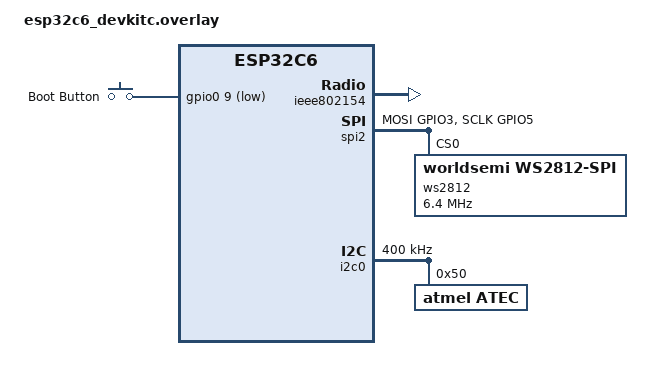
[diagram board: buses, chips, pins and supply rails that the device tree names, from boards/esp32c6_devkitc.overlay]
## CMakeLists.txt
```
cmake_minimum_required(VERSION 3.20.0)

find_package(Zephyr REQUIRED HINTS $ENV{ZEPHYR_BASE})
project(bitchat_esp32c6)

target_sources(app PRIVATE 
    src/main.c
    src/bitchat_crypto.c
)
```

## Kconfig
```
# SPDX-License-Identifier: Apache-2.0

mainmenu "BitChat ESP32-C6 Application"

source "Kconfig.zephyr"

# Application-specific configuration options can go here
# Example:
# config BITCHAT_VERSION
# 	string "BitChat version"
# 	default "0.1.0"
```

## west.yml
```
manifest:
  version: "0.13"

  remotes:
    - name: zephyrproject-rtos
      url-base: https://github.com/zephyrproject-rtos

  projects:
    - name: zephyr
      url: https://github.com/zephyrproject-rtos/zephyr
      revision: main
      path: zephyr
      import: true

  self:
    path: .
    west-commands: scripts/west-commands.yml
```

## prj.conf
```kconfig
# Covekey Project Configuration - BitChat Bot

# Console and Logging
CONFIG_LOG=y
CONFIG_LOG_MODE_IMMEDIATE=y
CONFIG_LOG_DEFAULT_LEVEL=3
CONFIG_CONSOLE=y
CONFIG_UART_CONSOLE=y
CONFIG_SERIAL=y
CONFIG_PRINTK=y
CONFIG_EARLY_CONSOLE=y

# GPIO (required for future expansion)
CONFIG_GPIO=y

# Bluetooth LE Support
CONFIG_BT=y
CONFIG_BT_PERIPHERAL=y
CONFIG_BT_CENTRAL=y
CONFIG_BT_OBSERVER=y
CONFIG_BT_BROADCASTER=y
CONFIG_BT_DEVICE_NAME="BitChat"
CONFIG_BT_DEVICE_NAME_DYNAMIC=n
CONFIG_BT_MAX_CONN=4
CONFIG_BT_L2CAP_TX_BUF_COUNT=3
CONFIG_BT_CONN_CHECK_NULL_BEFORE_CREATE=y

# ESP32-C6 CRITICAL: Enable parallel scan and connection initiation
# bt_le_scan_stop() crashes on ESP32-C6, this allows connections while scanning
CONFIG_BT_SCAN_AND_INITIATE_IN_PARALLEL=y

# GATT Client support (for mesh messaging)
CONFIG_BT_GATT_CLIENT=y

# MTU and buffer configuration
# Increased ACL buffer size to support higher ATT MTU negotiation
# ATT MTU is negotiated based on ACL buffer size, not L2CAP MTU
# 512 bytes allows ATT MTU of ~508 bytes, preventing fragmentation of TLV handshakes
CONFIG_BT_L2CAP_TX_MTU=512
CONFIG_BT_BUF_ACL_TX_SIZE=512
CONFIG_BT_BUF_ACL_RX_SIZE=512
CONFIG_BT_ATT_PREPARE_COUNT=1

# HCI buffer pool - increased for parallel scan+connect operations
CONFIG_BT_BUF_ACL_TX_COUNT=4

# BLE advertising - extended advertising required for parallel scan/initiate
# CONFIG_BT_EXT_ADV is auto-enabled by CONFIG_BT_SCAN_AND_INITIATE_IN_PARALLEL
CONFIG_BT_PRIVACY=n

# NO NETWORKING - Bluetooth only
CONFIG_NETWORKING=n

# PSA Crypto API (modern mbedTLS) for Noise XX protocol
CONFIG_MBEDTLS=y
CONFIG_MBEDTLS_BUILTIN=y
CONFIG_PSA_CRYPTO_PROVIDER_MBEDTLS=y
CONFIG_PSA_WANT_ALG_ECDH=y
CONFIG_PSA_WANT_ALG_SHA_256=y
CONFIG_PSA_WANT_ALG_HMAC=y
# Noise_XX requires ChaCha20-Poly1305, not AES-GCM
CONFIG_PSA_WANT_ALG_CHACHA20_POLY1305=y
CONFIG_PSA_WANT_KEY_TYPE_CHACHA20=y
# Noise_XX requires Curve25519 (X25519), not secp256r1
CONFIG_PSA_WANT_ECC_MONTGOMERY_255=y
CONFIG_PSA_WANT_KEY_TYPE_ECC_KEY_PAIR_IMPORT=y
CONFIG_PSA_WANT_KEY_TYPE_ECC_KEY_PAIR_EXPORT=y
CONFIG_PSA_WANT_KEY_TYPE_ECC_KEY_PAIR_GENERATE=y
CONFIG_MBEDTLS_ENABLE_HEAP=y
CONFIG_MBEDTLS_HEAP_SIZE=40960

# Shell for interactive control
CONFIG_SHELL=y
CONFIG_SHELL_BACKEND_SERIAL=y
CONFIG_SHELL_PROMPT_UART="bitchat> "
CONFIG_SHELL_CMD_BUFF_SIZE=256
CONFIG_SHELL_ARGC_MAX=12

# Memory and Threading
CONFIG_MAIN_STACK_SIZE=8192
CONFIG_SYSTEM_WORKQUEUE_STACK_SIZE=8192
CONFIG_HEAP_MEM_POOL_SIZE=65536

# ESP32-C6 BLE soft controller stability - increased buffers
CONFIG_BT_BUF_EVT_RX_COUNT=16
CONFIG_BT_BUF_CMD_TX_COUNT=8
CONFIG_BT_RX_STACK_SIZE=4096

# CRITICAL: Extended advertising/scanning buffer size limits for ESP32-C6
# When CONFIG_BT_SCAN_AND_INITIATE_IN_PARALLEL=y, BT_EXT_ADV is auto-enabled
# Extended advertising scan reports require 122 bytes for HCI event buffers
# ESP32-C6 ACL data buffers limited to 58 bytes, but event buffers can be larger
CONFIG_BT_BUF_EVT_DISCARDABLE_SIZE=122
CONFIG_BT_BUF_EVT_DISCARDABLE_COUNT=8
CONFIG_BT_BUF_EVT_RX_SIZE=122

# System
CONFIG_REBOOT=y
```

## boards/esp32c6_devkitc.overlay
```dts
#include <zephyr/dt-bindings/led/led.h>

/*
 * Waveshare ESP32-C6-Touch-LCD-1.9 + ATEC608
 * 
 * Hardware Configuration:
 * - WS2812 LEDs: Connected via SPI2 (using bit-banging technique)
 * - ST7789 LCD:  GPIO4(MOSI), GPIO5(SCK), GPIO6(DC), GPIO7(BL), GPIO14(RST), GPIO20(CS)
 * - QMI8658 IMU: GPIO8(SCL), GPIO18(SDA)
 * - ATEC608:     GPIO1(SCL), GPIO2(SDA) - Secure element
 * - MicroSD:     GPIO4(MOSI), GPIO5(SCK), GPIO19(MISO), GPIO20(CS)
 * - Boot Button: GPIO9
 */

/ {
	aliases {
		led-strip = &ws2812;
		sw0 = &boot_button;
		atec-i2c = &i2c0;
	};

	buttons {
		compatible = "gpio-keys";
		boot_button: button_0 {
			gpios = <&gpio0 9 (GPIO_PULL_UP | GPIO_ACTIVE_LOW)>;
			label = "Boot Button";
		};
	};
};

/* Enable IEEE 802.15.4 radio */
&ieee802154 {
	status = "okay";
};

&spi2 {
	status = "okay";
	#address-cells = <1>;
	#size-cells = <0>;
	pinctrl-0 = <&spim2_default>;
	pinctrl-names = "default";

	/* WS2812 LEDs via SPI bit-banging on GPIO3 */
	ws2812: ws2812@0 {
		compatible = "worldsemi,ws2812-spi";
		reg = <0>;
		spi-max-frequency = <6400000>;
		chain-length = <2>;
		/* GRB order for WS2812B */
		color-mapping = <LED_COLOR_ID_GREEN
				 LED_COLOR_ID_RED
				 LED_COLOR_ID_BLUE>;
		spi-one-frame = <0xf0>;
		spi-zero-frame = <0xc0>;
	};
};

&i2c0 {
	status = "okay";
	clock-frequency = <I2C_BITRATE_FAST>;
	pinctrl-0 = <&i2c0_default>;
	pinctrl-names = "default";

	/* ATEC608 Secure Element */
	atec: atec@50 {
		compatible = "atmel,atec";
		reg = <0x50>;
	};
};

&pinctrl {
	spim2_default: spim2_default {
		group1 {
			pinmux = <SPIM2_MOSI_GPIO3>;  /* WS2812 data line only */
			output-high;
		};
		group2 {
			pinmux = <SPIM2_SCLK_GPIO5>;
			output-low;
		};
	};

	i2c0_default: i2c0_default {
		group1 {
			pinmux = <I2C0_SDA_GPIO2>,   /* ATEC608 SDA */
					 <I2C0_SCL_GPIO1>;   /* ATEC608 SCL */
			bias-pull-up;
			drive-open-drain;
			output-high;
		};
	};
};
```

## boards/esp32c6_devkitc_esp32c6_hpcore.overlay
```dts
/*
 * Waveshare ESP32-C6 1.9" Display Development Board
 * Hardware configuration ported from Arduino examples
 * 
 * Display: ST7789V 170×320 LCD - DISABLED
 * 
 * RGB LED: WS2812 x2 on GPIO3
 * - Color order: GRB (Green-Red-Blue)
 * - Driven via SPI bit-banging
 * 
 * Button: BOOT on GPIO9
 */

/ {
	aliases {
		sw0 = &boot_button;
		led-strip = &ws2812;
	};

	buttons {
		compatible = "gpio-keys";
		boot_button: button_0 {
			gpios = <&gpio0 9 (GPIO_PULL_UP | GPIO_ACTIVE_LOW)>;
			label = "Boot Button";
		};
	};
};

&pinctrl {
	spim2_ws2812: spim2_ws2812 {
		group1 {
			pinmux = <SPIM2_MOSI_GPIO7>,
				 <SPIM2_SCLK_GPIO6>;
		};
	};
};

/* SPI2 for WS2812 RGB LEDs only */
&spi2 {
	status = "okay";
	#address-cells = <1>;
	#size-cells = <0>;
	pinctrl-0 = <&spim2_ws2812>;
	pinctrl-names = "default";

	/* WS2812 RGB LEDs - GRB color order */
	ws2812: ws2812@0 {
		compatible = "worldsemi,ws2812-spi";
		reg = <0>;
		spi-max-frequency = <6400000>;
		chain-length = <2>;
		color-mapping = <1 2 3>; /* GREEN=1, RED=2, BLUE=3 */
		spi-one-frame = <0xf0>;
		spi-zero-frame = <0xc0>;
	};
};
```

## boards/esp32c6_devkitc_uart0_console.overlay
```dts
/ {
	chosen {
		zephyr,console = &uart0;
		zephyr,shell-uart = &uart0;
	};
};

&uart0 {
	status = "okay";
	current-speed = <115200>;
};
```

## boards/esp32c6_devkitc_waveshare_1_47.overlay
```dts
/*
 * Waveshare ESP32-C6 1.47" Display Development Board
 * ST7789V 172x320 LCD with SPI interface
 *
 * NOTE: This overlay is for the 1.47" ST7789V panel; WS2812 configuration lives in esp32c6_devkitc.overlay.
 */

&spi2 {
	status = "okay";
	pinctrl-0 = <&spim2_default>;
	pinctrl-names = "default";
	clock-frequency = <40000000>;
	cs-gpios = <&gpio0 18 GPIO_ACTIVE_LOW>;

	st7789v: st7789v@0 {
		compatible = "sitronix,st7789v";
		reg = <0>;
		spi-max-frequency = <40000000>;
		cmd-data-gpios = <&gpio0 22 GPIO_ACTIVE_HIGH>;
		reset-gpios = <&gpio0 23 GPIO_ACTIVE_LOW>;
		width = <172>;
		height = <320>;
		x-offset = <34>;
		y-offset = <0>;
		vcom = <0x19>;
		gctrl = <0x35>;
		vrhs = <0x12>;
		vdvs = <0x20>;
		mdac = <0x00>;
		gamma = <0x01>;
		colmod = <0x55>;
		lcm = <0x2c>;
		porch-param = [0c 0c 00 33 33];
		cmd2en-param = [5a 69 02 01];
		pwctrl1-param = [a4 a1];
		pvgam-param = [D0 04 0D 11 13 2B 3F 54 4C 18 0D 0B 1F 23];
		nvgam-param = [D0 04 0C 11 13 2C 3F 44 51 2F 1F 1F 20 23];
		ram-param = [00 F0];
		rgb-param = [CD 08 14];
	};
};

&pinctrl {
	spim2_default: spim2_default {
		group1 {
			pinmux = <SPIM2_MISO_GPIO2>,
				 <SPIM2_MOSI_GPIO7>,
				 <SPIM2_SCLK_GPIO6>;
		};
	};
};

/ {
	chosen {
		zephyr,display = &st7789v;
	};

	aliases {
		led0 = &led_rgb;
	};

	leds {
		compatible = "gpio-leds";
		led_rgb: led_0 {
			gpios = <&gpio0 10 GPIO_ACTIVE_HIGH>;
			label = "RGB LED Red";
		};
	};

	backlight: backlight {
		compatible = "gpio-leds";
		bl_gpio: backlight_0 {
			gpios = <&gpio0 21 GPIO_ACTIVE_HIGH>;
			label = "Display Backlight";
		};
	};
};

&uart0 {
	status = "okay";
	current-speed = <115200>;
};

&slot0_partition {
	reg = <0x00010000 0x200000>;
};
```

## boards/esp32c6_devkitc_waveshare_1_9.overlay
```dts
/*
 * Waveshare ESP32-C6 1.9" Display Board
 * 170x320 ST7789 display, QMI8658 IMU, CST816 touch, WS2812 LED
 */

/ {
	aliases {
	};
};

&uart0 {
	status = "okay";
	current-speed = <115200>;
};

/* Fix partition node address/reg mismatch */
&slot0_partition {
	/* node name and reg must match */
	reg = <0x00010000 0x200000>;
	label = "image-0";
};
```

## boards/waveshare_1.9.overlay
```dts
/ {
	chosen {
		zephyr,display = &st7789;
	};

	aliases {
		atec-i2c = &i2c0;
	};
};

&spi0 {
	status = "okay";
	cs-gpios = <&gpio0 7 GPIO_ACTIVE_LOW>;

	st7789: st7789@0 {
		compatible = "sitronix,st7789v";
		reg = <0>;
		spi-max-frequency = <20000000>;
		cmd-data-gpios = <&gpio0 6 GPIO_ACTIVE_LOW>;  /* DC pin */
		reset-gpios = <&gpio0 14 GPIO_ACTIVE_LOW>;    /* RST pin */
		width = <170>;
		height = <320>;
		x-offset = <35>;
		y-offset = <0>;
		vcom = <0x19>;
		gctrl = <0x35>;
		vrhs = <0x12>;
		vdvs = <0x20>;
		mdac = <0x00>;
		gamma = <0x01>;
		colmod = <0x05>;
		lcm = <0x2c>;
		porch-param = [0c 0c 00 33 33];
		cmd2en-param = [5a 69 02 01];
		pwctrl1-param = [a4 a1];
		pvgam-param = [D0 04 0D 11 13 2B 3F 54 4C 18 0D 0B 1F 23];
		nvgam-param = [D0 04 0C 11 13 2C 3F 44 51 2F 1F 1F 20 23];
		ram-param = <0x00 0xE0>;
		rgb-param = <0x00 0xE0>;
	};
};

&i2c0 {
	status = "okay";
	clock-frequency = <I2C_BITRATE_STANDARD>;
	pinctrl-0 = <&i2c0_default>;
	pinctrl-names = "default";

	atec: atec@50 {
		compatible = "atmel,atec";
		reg = <0x50>;
		scl-gpios = <&gpio0 1 GPIO_ACTIVE_HIGH>;  /* GPIO1 for SCL */
		sda-gpios = <&gpio0 2 GPIO_ACTIVE_HIGH>;  /* GPIO2 for SDA */
	};
};

&pinctrl {
	i2c0_default: i2c0_default {
		group1 {
			psels = <NRF_PSEL(TWIM_SDA, 0, 2)>,
				<NRF_PSEL(TWIM_SCL, 0, 1)>;
		};
	};
};
```

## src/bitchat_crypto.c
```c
/*
 * bitchat Cryptography Implementation
 * Full Noise_XX_25519_ChaChaPoly_SHA256 Protocol
 * Using PSA Crypto API (mbedTLS 3.x)
 */

#include <zephyr/kernel.h>
#include <zephyr/logging/log.h>
#include <zephyr/random/random.h>
#include <psa/crypto.h>
#include <string.h>

#include "bitchat_protocol.h"

LOG_MODULE_REGISTER(bitchat_crypto, LOG_LEVEL_INF);

/* External mutex for serializing UART output (defined in main.c) */
extern struct k_mutex uart_mutex;

#define NOISE_PROTOCOL_NAME "Noise_XX_25519_ChaChaPoly_SHA256"

/* ========== Key Generation ========== */

int bitchat_generate_keypair(uint8_t *private_key, uint8_t *public_key)
{
	psa_status_t status;
	psa_key_attributes_t attributes = PSA_KEY_ATTRIBUTES_INIT;
	psa_key_id_t key_id;
	uint8_t public_key_buffer[32]; /* Raw 32-byte Curve25519 public key */
	size_t public_key_len;
	size_t private_key_len;
	
	/* Configure key for ECDH on Curve25519 (X25519) */
	psa_set_key_usage_flags(&attributes, PSA_KEY_USAGE_EXPORT | PSA_KEY_USAGE_DERIVE);
	psa_set_key_algorithm(&attributes, PSA_ALG_ECDH);
	psa_set_key_type(&attributes, PSA_KEY_TYPE_ECC_KEY_PAIR(PSA_ECC_FAMILY_MONTGOMERY));
	psa_set_key_bits(&attributes, 255);
	psa_set_key_lifetime(&attributes, PSA_KEY_LIFETIME_VOLATILE);
	
	status = psa_generate_key(&attributes, &key_id);
	if (status != PSA_SUCCESS) {
		LOG_ERR("Failed to generate keypair: %d", status);
		return -1;
	}
	
	status = psa_export_key(key_id, private_key, NOISE_KEY_SIZE, &private_key_len);
	if (status != PSA_SUCCESS) {
		LOG_ERR("Failed to export private key: %d", status);
		psa_destroy_key(key_id);
		return -1;
	}
	
	status = psa_export_public_key(key_id, public_key_buffer, sizeof(public_key_buffer), 
	                               &public_key_len);
	if (status != PSA_SUCCESS) {
		LOG_ERR("Failed to export public key: %d", status);
		psa_destroy_key(key_id);
		return -1;
	}
	
	/* Curve25519 public key is raw 32 bytes (no prefix) */
	memcpy(public_key, public_key_buffer, NOISE_KEY_SIZE);
	
	psa_destroy_key(key_id);
	return 0;
}

/* ========== ECDH (Diffie-Hellman) ========== */

int bitchat_ecdh(const uint8_t *our_private, const uint8_t *their_public, 
                 uint8_t *shared_secret)
{
	psa_status_t status;
	psa_key_attributes_t attributes = PSA_KEY_ATTRIBUTES_INIT;
	psa_key_id_t key_id;
	size_t shared_secret_len;
	
	psa_set_key_usage_flags(&attributes, PSA_KEY_USAGE_DERIVE);
	psa_set_key_algorithm(&attributes, PSA_ALG_ECDH);
	psa_set_key_type(&attributes, PSA_KEY_TYPE_ECC_KEY_PAIR(PSA_ECC_FAMILY_MONTGOMERY));
	psa_set_key_bits(&attributes, 255);
	psa_set_key_lifetime(&attributes, PSA_KEY_LIFETIME_VOLATILE);
	
	status = psa_import_key(&attributes, our_private, NOISE_KEY_SIZE, &key_id);
	if (status != PSA_SUCCESS) {
		LOG_ERR("Failed to import private key: %d", status);
		return -1;
	}
	
	/* Curve25519 public key is raw 32 bytes (no prefix) */
	status = psa_raw_key_agreement(PSA_ALG_ECDH, key_id, their_public, NOISE_KEY_SIZE,
	                               shared_secret, NOISE_KEY_SIZE, &shared_secret_len);
	
	psa_destroy_key(key_id);
	
	if (status != PSA_SUCCESS) {
		LOG_ERR("ECDH failed: %d", status);
		return -1;
	}
	
	return 0;
}

/* ========== Crypto Primitives ========== */

int bitchat_sha256(const uint8_t *data, size_t len, uint8_t *hash)
{
	psa_status_t status;
	size_t hash_len;
	
	status = psa_hash_compute(PSA_ALG_SHA_256, data, len, hash, NOISE_HASH_SIZE, &hash_len);
	if (status != PSA_SUCCESS) {
		LOG_ERR("SHA256 failed: %d", status);
		return -1;
	}
	return 0;
}

/* Simplified HKDF for Noise MixKey */
static int noise_hkdf(const uint8_t *ck, const uint8_t *ikm, size_t ikm_len,
                      uint8_t *out1, uint8_t *out2)
{
	uint8_t temp_key[NOISE_HASH_SIZE];
	uint8_t info1[NOISE_HASH_SIZE + 1];
	uint8_t info2[NOISE_HASH_SIZE + 1];
	
	/* HMAC-SHA256(ck, ikm) -> temp_key */
	psa_algorithm_t alg = PSA_ALG_HMAC(PSA_ALG_SHA_256);
	psa_key_attributes_t attr = PSA_KEY_ATTRIBUTES_INIT;
	psa_key_id_t key_id;
	size_t mac_len;
	
	psa_set_key_usage_flags(&attr, PSA_KEY_USAGE_SIGN_MESSAGE);
	psa_set_key_algorithm(&attr, alg);
	psa_set_key_type(&attr, PSA_KEY_TYPE_HMAC);
	psa_set_key_bits(&attr, 256);
	
	if (psa_import_key(&attr, ck, NOISE_HASH_SIZE, &key_id) != PSA_SUCCESS) {
		return -1;
	}
	
	if (psa_mac_compute(key_id, alg, ikm, ikm_len, temp_key, 
	                    NOISE_HASH_SIZE, &mac_len) != PSA_SUCCESS) {
		psa_destroy_key(key_id);
		return -1;
	}
	psa_destroy_key(key_id);
	
	/* Derive output1: HMAC(temp_key, 0x01) */
	info1[0] = 0x01;
	if (psa_import_key(&attr, temp_key, NOISE_HASH_SIZE, &key_id) != PSA_SUCCESS) {
		return -1;
	}
	if (psa_mac_compute(key_id, alg, info1, 1, out1, NOISE_HASH_SIZE, &mac_len) != PSA_SUCCESS) {
		psa_destroy_key(key_id);
		return -1;
	}
	
	/* Derive output2: HMAC(temp_key, out1 || 0x02) */
	memcpy(info2, out1, NOISE_HASH_SIZE);
	info2[NOISE_HASH_SIZE] = 0x02;
	if (psa_mac_compute(key_id, alg, info2, NOISE_HASH_SIZE + 1, 
	                    out2, NOISE_HASH_SIZE, &mac_len) != PSA_SUCCESS) {
		psa_destroy_key(key_id);
		return -1;
	}
	psa_destroy_key(key_id);
	
	return 0;
}

/* ========== Noise Protocol Functions ========== */

void noise_mix_hash(uint8_t *h, const uint8_t *data, size_t len)
{
	uint8_t temp[NOISE_HASH_SIZE + 512];
	size_t total_len = NOISE_HASH_SIZE + len;
	
	if (total_len > sizeof(temp)) {
		LOG_ERR("Data too large for mix_hash");
		return;
	}
	
	memcpy(temp, h, NOISE_HASH_SIZE);
	memcpy(temp + NOISE_HASH_SIZE, data, len);
	bitchat_sha256(temp, total_len, h);
}

void noise_mix_key(uint8_t *ck, uint8_t *k, const uint8_t *ikm, size_t len)
{
	uint8_t temp_ck[NOISE_HASH_SIZE];
	uint8_t temp_k[NOISE_HASH_SIZE];
	
	if (noise_hkdf(ck, ikm, len, temp_ck, temp_k) == 0) {
		memcpy(ck, temp_ck, NOISE_HASH_SIZE);
		if (k) {
			memcpy(k, temp_k, NOISE_KEY_SIZE);
		}
	}
}

/* ChaCha20-Poly1305 encryption for Noise protocol */
int noise_encrypt(const uint8_t *key, uint64_t nonce, const uint8_t *ad, size_t ad_len,
                  const uint8_t *plaintext, size_t plaintext_len,
                  uint8_t *ciphertext, uint8_t *tag)
{
	psa_status_t status;
	psa_key_attributes_t attr = PSA_KEY_ATTRIBUTES_INIT;
	psa_key_id_t key_id;
	uint8_t nonce_bytes[12] = {0};
	size_t output_len;
	uint8_t temp_output[512];
	
	if (plaintext_len + 16 > sizeof(temp_output)) {
		LOG_ERR("Plaintext too large for encryption");
		return -1;
	}
	
	/* Encode nonce as 12 bytes (little-endian, lower 8 bytes starting at offset 4) */
	memcpy(nonce_bytes + 4, &nonce, sizeof(nonce));
	
	psa_set_key_usage_flags(&attr, PSA_KEY_USAGE_ENCRYPT);
	psa_set_key_algorithm(&attr, PSA_ALG_CHACHA20_POLY1305);
	psa_set_key_type(&attr, PSA_KEY_TYPE_CHACHA20);
	psa_set_key_bits(&attr, 256);
	
	status = psa_import_key(&attr, key, NOISE_KEY_SIZE, &key_id);
	if (status != PSA_SUCCESS) {
		LOG_ERR("Failed to import encryption key: %d", status);
		return -1;
	}
	
	status = psa_aead_encrypt(key_id, PSA_ALG_CHACHA20_POLY1305, nonce_bytes, 12, ad, ad_len,
	                          plaintext, plaintext_len, temp_output, 
	                          plaintext_len + 16, &output_len);
	
	psa_destroy_key(key_id);
	
	if (status != PSA_SUCCESS) {
		LOG_ERR("ChaCha20-Poly1305 encryption failed: %d", status);
		return -1;
	}
	
	/* Split output into ciphertext and tag */
	memcpy(ciphertext, temp_output, plaintext_len);
	memcpy(tag, temp_output + plaintext_len, 16);
	
	return 0;
}

int noise_decrypt(const uint8_t *key, uint64_t nonce, const uint8_t *ad, size_t ad_len,
                  const uint8_t *ciphertext, size_t ciphertext_len,
                  const uint8_t *tag, uint8_t *plaintext)
{
	psa_status_t status;
	psa_key_attributes_t attr = PSA_KEY_ATTRIBUTES_INIT;
	psa_key_id_t key_id;
	uint8_t nonce_bytes[12] = {0};
	uint8_t ct_with_tag[512];
	size_t output_len;
	
	if (ciphertext_len + 16 > sizeof(ct_with_tag)) {
		LOG_ERR("Ciphertext too large for decryption");
		return -1;
	}
	
	/* Encode nonce as 12 bytes (little-endian) */
	memcpy(nonce_bytes + 4, &nonce, sizeof(nonce));
	
	/* Combine ciphertext and tag for PSA AEAD */
	memcpy(ct_with_tag, ciphertext, ciphertext_len);
	memcpy(ct_with_tag + ciphertext_len, tag, 16);
	
	psa_set_key_usage_flags(&attr, PSA_KEY_USAGE_DECRYPT);
	psa_set_key_algorithm(&attr, PSA_ALG_CHACHA20_POLY1305);
	psa_set_key_type(&attr, PSA_KEY_TYPE_CHACHA20);
	psa_set_key_bits(&attr, 256);
	
	status = psa_import_key(&attr, key, NOISE_KEY_SIZE, &key_id);
	if (status != PSA_SUCCESS) {
		LOG_ERR("Failed to import decryption key: %d", status);
		return -1;
	}
	
	status = psa_aead_decrypt(key_id, PSA_ALG_CHACHA20_POLY1305, nonce_bytes, 12, ad, ad_len,
	                          ct_with_tag, ciphertext_len + 16, plaintext,
	                          ciphertext_len, &output_len);
	
	psa_destroy_key(key_id);
	
	if (status != PSA_SUCCESS) {
		LOG_ERR("ChaCha20-Poly1305 decryption failed: %d", status);
		return -1;
	}
	
	return 0;
}

/* ========== Noise XX Handshake ========== */

int noise_init_session(struct noise_session *session, bool initiator,
                       const struct bitchat_identity *identity)
{
	memset(session, 0, sizeof(*session));
	
	session->state = NOISE_INIT;
	
	/* Initialize h and ck with protocol name */
	const char *protocol = NOISE_PROTOCOL_NAME;
	bitchat_sha256((const uint8_t *)protocol, strlen(protocol), session->h);
	memcpy(session->ck, session->h, NOISE_HASH_SIZE);
	
	/* Generate ephemeral keypair */
	if (bitchat_generate_keypair(session->e_private, session->e_public) != 0) {
		return -1;
	}
	
	session->session_id = sys_rand16_get();
	session->last_activity = k_uptime_get();
	
	k_mutex_lock(&uart_mutex, K_FOREVER);
	LOG_INF("Noise session initialized (ID: 0x%04x, %s)", 
	        session->session_id, initiator ? "initiator" : "responder");
	k_mutex_unlock(&uart_mutex);
	
	return 0;
}

/* ========== Noise XX Handshake - Message Processing ========== */

/* Message 1 (initiator -> responder): -> e */
int noise_handshake_write_message1(struct noise_session *session, uint8_t *out, size_t *out_len)
{
	if (session->state != NOISE_INIT) {
		LOG_ERR("Invalid state for message 1: %d", session->state);
		return -1;
	}
	
	/* Send: e */
	memcpy(out, session->e_public, NOISE_KEY_SIZE);
	*out_len = NOISE_KEY_SIZE;
	
	/* Update handshake hash: h = HASH(h || e) */
	noise_mix_hash(session->h, session->e_public, NOISE_KEY_SIZE);
	
	session->state = NOISE_SENT_E;
	k_mutex_lock(&uart_mutex, K_FOREVER);
	LOG_INF("Sent handshake message 1 (e)");
	k_mutex_unlock(&uart_mutex);
	
	return 0;
}

/* Message 1 (responder receives): <- e */
int noise_handshake_read_message1(struct noise_session *session, const uint8_t *in, size_t in_len)
{
	if (session->state != NOISE_INIT) {
		LOG_ERR("Invalid state for reading message 1: %d", session->state);
		return -1;
	}
	
	if (in_len < NOISE_KEY_SIZE) {
		LOG_ERR("Message 1 too short: %zu", in_len);
		return -1;
	}
	
	/* Receive: e */
	memcpy(session->remote_e, in, NOISE_KEY_SIZE);
	
	/* Update handshake hash: h = HASH(h || e) */
	noise_mix_hash(session->h, session->remote_e, NOISE_KEY_SIZE);
	
	session->state = NOISE_SENT_E;  /* Ready to send message 2 */
	k_mutex_lock(&uart_mutex, K_FOREVER);
	LOG_INF("Received handshake message 1 (e)");
	k_mutex_unlock(&uart_mutex);
	
	return 0;
}

/* Message 2 (responder -> initiator): -> e, ee, s, es */
int noise_handshake_write_message2(struct noise_session *session, 
                                   const struct bitchat_identity *identity,
                                   uint8_t *out, size_t *out_len)
{
	uint8_t dh_result[NOISE_KEY_SIZE];
	uint8_t k[NOISE_KEY_SIZE];
	uint8_t tag[16];
	size_t offset = 0;
	
	if (session->state != NOISE_SENT_E) {
		LOG_ERR("Invalid state for message 2: %d", session->state);
		return -1;
	}
	
	/* Send: e */
	memcpy(out + offset, session->e_public, NOISE_KEY_SIZE);
	offset += NOISE_KEY_SIZE;
	noise_mix_hash(session->h, session->e_public, NOISE_KEY_SIZE);
	
	/* Perform: ee */
	if (bitchat_ecdh(session->e_private, session->remote_e, dh_result) != 0) {
		LOG_ERR("ECDH ee failed");
		return -1;
	}
	noise_mix_key(session->ck, NULL, dh_result, NOISE_KEY_SIZE);
	
	/* Send: s (encrypted with tag) */
	noise_mix_key(session->ck, k, NULL, 0);  /* Derive temporary key */
	if (noise_encrypt(k, 0, session->h, NOISE_HASH_SIZE,
	                  identity->noise_public, NOISE_KEY_SIZE,
	                  out + offset, tag) != 0) {
		LOG_ERR("Failed to encrypt static key");
		return -1;
	}
	/* Copy ciphertext and tag to output */
	memcpy(out + offset + NOISE_KEY_SIZE, tag, 16);
	/* Update hash with ciphertext+tag */
	noise_mix_hash(session->h, out + offset, NOISE_KEY_SIZE + 16);
	offset += NOISE_KEY_SIZE + 16;
	
	/* Perform: es */
	if (bitchat_ecdh(identity->noise_private, session->remote_e, dh_result) != 0) {
		LOG_ERR("ECDH es failed");
		return -1;
	}
	noise_mix_key(session->ck, NULL, dh_result, NOISE_KEY_SIZE);
	
	*out_len = offset;
	session->state = NOISE_RECEIVED_EES_S_ES;
	k_mutex_lock(&uart_mutex, K_FOREVER);
	LOG_INF("Sent handshake message 2 (e, ee, s, es)");
	k_mutex_unlock(&uart_mutex);
	
	return 0;
}

/* Message 2 (initiator receives): <- e, ee, s, es */
int noise_handshake_read_message2(struct noise_session *session,
                                  const struct bitchat_identity *identity,
                                  const uint8_t *in, size_t in_len)
{
	uint8_t dh_result[NOISE_KEY_SIZE];
	uint8_t k[NOISE_KEY_SIZE];
	uint8_t tag[16];
	size_t offset = 0;
	
	if (session->state != NOISE_SENT_E) {
		LOG_ERR("Invalid state for reading message 2: %d", session->state);
		return -1;
	}
	
	if (in_len < (NOISE_KEY_SIZE + NOISE_KEY_SIZE + 16)) {
		LOG_ERR("Message 2 too short: %zu (expected >= %d)", in_len, NOISE_KEY_SIZE + NOISE_KEY_SIZE + 16);
		return -1;
	}
	
	/* Receive: e */
	memcpy(session->remote_e, in + offset, NOISE_KEY_SIZE);
	offset += NOISE_KEY_SIZE;
	noise_mix_hash(session->h, session->remote_e, NOISE_KEY_SIZE);
	
	/* Perform: ee */
	if (bitchat_ecdh(session->e_private, session->remote_e, dh_result) != 0) {
		LOG_ERR("ECDH ee failed");
		return -1;
	}
	noise_mix_key(session->ck, NULL, dh_result, NOISE_KEY_SIZE);
	
	/* Receive: s (encrypted with tag) */
	noise_mix_key(session->ck, k, NULL, 0);  /* Derive temporary key */
	memcpy(tag, in + offset + NOISE_KEY_SIZE, 16);
	if (noise_decrypt(k, 0, session->h, NOISE_HASH_SIZE,
	                  in + offset, NOISE_KEY_SIZE, tag,
	                  session->remote_s) != 0) {
		LOG_ERR("Failed to decrypt static key");
		return -1;
	}
	/* Update hash with ciphertext+tag */
	noise_mix_hash(session->h, in + offset, NOISE_KEY_SIZE + 16);
	offset += NOISE_KEY_SIZE + 16;
	
	/* Perform: es */
	if (bitchat_ecdh(session->e_private, session->remote_s, dh_result) != 0) {
		LOG_ERR("ECDH es failed");
		return -1;
	}
	noise_mix_key(session->ck, NULL, dh_result, NOISE_KEY_SIZE);
	
	session->state = NOISE_RECEIVED_EES_S_ES;
	k_mutex_lock(&uart_mutex, K_FOREVER);
	LOG_INF("Received handshake message 2 (e, ee, s, es)");
	k_mutex_unlock(&uart_mutex);
	
	return 0;
}

/* Message 3 (initiator -> responder): -> s, se */
int noise_handshake_write_message3(struct noise_session *session,
                                   const struct bitchat_identity *identity,
                                   uint8_t *out, size_t *out_len)
{
	uint8_t dh_result[NOISE_KEY_SIZE];
	uint8_t k[NOISE_KEY_SIZE];
	uint8_t tag[16];
	size_t offset = 0;
	
	if (session->state != NOISE_RECEIVED_EES_S_ES) {
		LOG_ERR("Invalid state for message 3: %d", session->state);
		return -1;
	}
	
	/* Send: s (encrypted with tag) */
	noise_mix_key(session->ck, k, NULL, 0);  /* Derive temporary key */
	if (noise_encrypt(k, 0, session->h, NOISE_HASH_SIZE,
	                  identity->noise_public, NOISE_KEY_SIZE,
	                  out + offset, tag) != 0) {
		LOG_ERR("Failed to encrypt static key");
		return -1;
	}
	/* Copy ciphertext and tag */
	memcpy(out + offset + NOISE_KEY_SIZE, tag, 16);
	/* Update hash with ciphertext+tag */
	noise_mix_hash(session->h, out + offset, NOISE_KEY_SIZE + 16);
	offset += NOISE_KEY_SIZE + 16;
	
	/* Perform: se */
	if (bitchat_ecdh(identity->noise_private, session->remote_e, dh_result) != 0) {
		LOG_ERR("ECDH se failed");
		return -1;
	}
	noise_mix_key(session->ck, NULL, dh_result, NOISE_KEY_SIZE);
	
	*out_len = offset;
	session->state = NOISE_SENT_S_SE;
	
	/* Derive transport keys */
	noise_mix_key(session->ck, session->tx_key, NULL, 0);
	noise_mix_key(session->ck, session->rx_key, NULL, 0);
	session->tx_nonce = 0;
	session->rx_nonce = 0;
	session->state = NOISE_TRANSPORT;
	
	k_mutex_lock(&uart_mutex, K_FOREVER);
	LOG_INF("Sent handshake message 3 (s, se) - transport mode");
	k_mutex_unlock(&uart_mutex);
	
	return 0;
}

/* Message 3 (responder receives): <- s, se */
int noise_handshake_read_message3(struct noise_session *session,
                                  const uint8_t *in, size_t in_len)
{
	uint8_t dh_result[NOISE_KEY_SIZE];
	uint8_t k[NOISE_KEY_SIZE];
	uint8_t tag[16];
	size_t offset = 0;
	
	if (session->state != NOISE_RECEIVED_EES_S_ES) {
		LOG_ERR("Invalid state for reading message 3: %d", session->state);
		return -1;
	}
	
	if (in_len < (NOISE_KEY_SIZE + 16)) {
		LOG_ERR("Message 3 too short: %zu (expected >= %d)", in_len, NOISE_KEY_SIZE + 16);
		return -1;
	}
	
	/* Receive: s (encrypted with tag) */
	noise_mix_key(session->ck, k, NULL, 0);  /* Derive temporary key */
	memcpy(tag, in + offset + NOISE_KEY_SIZE, 16);
	if (noise_decrypt(k, 0, session->h, NOISE_HASH_SIZE,
	                  in + offset, NOISE_KEY_SIZE, tag,
	                  session->remote_s) != 0) {
		LOG_ERR("Failed to decrypt static key");
		return -1;
	}
	/* Update hash with ciphertext+tag */
	noise_mix_hash(session->h, in + offset, NOISE_KEY_SIZE + 16);
	offset += NOISE_KEY_SIZE + 16;
	
	/* Perform: se */
	if (bitchat_ecdh(session->e_private, session->remote_s, dh_result) != 0) {
		LOG_ERR("ECDH se failed");
		return -1;
	}
	noise_mix_key(session->ck, NULL, dh_result, NOISE_KEY_SIZE);
	
	/* Derive transport keys (note: swapped for responder) */
	noise_mix_key(session->ck, session->rx_key, NULL, 0);
	noise_mix_key(session->ck, session->tx_key, NULL, 0);
	session->tx_nonce = 0;
	session->rx_nonce = 0;
	session->state = NOISE_TRANSPORT;
	
	k_mutex_lock(&uart_mutex, K_FOREVER);
	LOG_INF("Received handshake message 3 (s, se) - transport mode");
	k_mutex_unlock(&uart_mutex);
	
	return 0;
}

/* Transport encryption (after handshake complete) */
int noise_transport_encrypt(struct noise_session *session, const uint8_t *plaintext,
                            size_t plaintext_len, uint8_t *ciphertext, size_t *ciphertext_len)
{
	uint8_t tag[16];
	
	if (session->state != NOISE_TRANSPORT) {
		LOG_ERR("Not in transport mode");
		return -1;
	}
	
	if (noise_encrypt(session->tx_key, session->tx_nonce, NULL, 0,
	                  plaintext, plaintext_len, ciphertext, tag) != 0) {
		return -1;
	}
	
	memcpy(ciphertext + plaintext_len, tag, 16);
	*ciphertext_len = plaintext_len + 16;
	session->tx_nonce++;
	
	return 0;
}

int noise_transport_decrypt(struct noise_session *session, const uint8_t *ciphertext,
                            size_t ciphertext_len, uint8_t *plaintext, size_t *plaintext_len)
{
	uint8_t tag[16];
	
	if (session->state != NOISE_TRANSPORT) {
		LOG_ERR("Not in transport mode");
		return -1;
	}
	
	if (ciphertext_len < 16) {
		LOG_ERR("Ciphertext too short");
		return -1;
	}
	
	size_t payload_len = ciphertext_len - 16;
	memcpy(tag, ciphertext + payload_len, 16);
	
	if (noise_decrypt(session->rx_key, session->rx_nonce, NULL, 0,
	                  ciphertext, payload_len, tag, plaintext) != 0) {
		return -1;
	}
	
	*plaintext_len = payload_len;
	session->rx_nonce++;
	
	return 0;
}

/* ========== Ephemeral-Only Handshake (BitChat Android Compatibility) ========== */

int noise_complete_ephemeral_handshake(struct noise_session *session, const uint8_t *remote_ephemeral)
{
	if (!session || !remote_ephemeral) {
		LOG_ERR("Invalid parameters");
		return -1;
	}
	
	/* Must be in NOISE_SENT_E state (after sending INIT) */
	if (session->state != NOISE_SENT_E) {
		LOG_ERR("Invalid state for ephemeral handshake: %d", session->state);
		return -1;
	}
	
	k_mutex_lock(&uart_mutex, K_FOREVER);
	LOG_INF("Completing ephemeral-only handshake (32-byte RESP mode)");
	k_mutex_unlock(&uart_mutex);
	
	/* Store remote ephemeral key */
	memcpy(session->remote_e, remote_ephemeral, NOISE_KEY_SIZE);
	
	/* Compute shared secret: DH(local_ephemeral, remote_ephemeral) */
	uint8_t shared_secret[NOISE_KEY_SIZE];
	if (bitchat_ecdh(session->e_private, remote_ephemeral, shared_secret) != 0) {
		LOG_ERR("DH operation failed");
		return -1;
	}
	
	/* Mix shared secret into chaining key using HKDF
	 * ck, temp_k = HKDF(ck, DH(e, e), 2)
	 */
	uint8_t temp_k1[NOISE_HASH_SIZE];
	uint8_t temp_k2[NOISE_HASH_SIZE];
	if (noise_hkdf(session->ck, shared_secret, NOISE_KEY_SIZE,
	               temp_k1, temp_k2) != 0) {
		LOG_ERR("HKDF failed");
		memset(shared_secret, 0, sizeof(shared_secret));
		return -1;
	}
	
	/* Update chaining key */
	memcpy(session->ck, temp_k1, NOISE_HASH_SIZE);
	
	/* Derive transport keys using split()
	 * temp_k1, temp_k2 = HKDF(ck, zero, 2)
	 * Split chaining key into send and receive keys
	 */
	uint8_t zero[1] = {0};
	if (noise_hkdf(session->ck, zero, 0,
	               session->tx_key, session->rx_key) != 0) {
		LOG_ERR("Transport key derivation failed");
		memset(shared_secret, 0, sizeof(shared_secret));
		memset(temp_k1, 0, sizeof(temp_k1));
		memset(temp_k2, 0, sizeof(temp_k2));
		return -1;
	}
	
	/* Initialize nonces */
	session->tx_nonce = 0;
	session->rx_nonce = 0;
	
	/* Update state to transport mode */
	session->state = NOISE_TRANSPORT;
	
	/* Clear sensitive material */
	memset(shared_secret, 0, sizeof(shared_secret));
	memset(temp_k1, 0, sizeof(temp_k1));
	memset(temp_k2, 0, sizeof(temp_k2));
	memset(session->e_private, 0, NOISE_KEY_SIZE); /* Clear ephemeral private key */
	
	k_mutex_lock(&uart_mutex, K_FOREVER);
	LOG_INF("Ephemeral-only handshake complete - TRANSPORT MODE ACTIVE");
	LOG_WRN("No static key authentication - forward secrecy only");
	k_mutex_unlock(&uart_mutex);
	
	return 0;
}

/* ========== Identity Initialization ========== */

int bitchat_init_identity(struct bitchat_identity *id, const char *nickname)
{
	k_mutex_lock(&uart_mutex, K_FOREVER);
	LOG_INF("Initializing bitchat identity...");
	k_mutex_unlock(&uart_mutex);
	
	if (bitchat_generate_keypair(id->noise_private, id->noise_public) != 0) {
		LOG_ERR("Failed to generate Noise keypair");
		return -1;
	}
	
	if (bitchat_generate_keypair(id->sign_private, id->sign_public) != 0) {
		LOG_ERR("Failed to generate signing keypair");
		return -1;
	}
	
	strncpy(id->nickname, nickname, bitchat_NICKNAME_LEN - 1);
	id->nickname[bitchat_NICKNAME_LEN - 1] = '\0';
	
	k_mutex_lock(&uart_mutex, K_FOREVER);
	LOG_INF("Identity: %s", id->nickname);
	LOG_INF("  Noise pub: %02x%02x...%02x%02x", 
	        id->noise_public[0], id->noise_public[1],
	        id->noise_public[30], id->noise_public[31]);
	k_mutex_unlock(&uart_mutex);
	
	return 0;
}
```

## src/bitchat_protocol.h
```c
/*
 * bitchat Protocol Definitions
 * Based on Noise_XX_25519_ChaChaPoly_SHA256
 */

#ifndef bitchat_PROTOCOL_H
#define bitchat_PROTOCOL_H

#include <stdint.h>
#include <stdbool.h>

/* Key sizes (bytes) */
#define NOISE_KEY_SIZE 32        /* X25519 / Ed25519 key size */
#define NOISE_HASH_SIZE 32       /* SHA-256 output */
#define NOISE_NONCE_SIZE 12      /* ChaCha20Poly1305 nonce */
#define NOISE_TAG_SIZE 16        /* Poly1305 authentication tag */

/* Packet constraints (bitchat spec) */
#define bitchat_PEER_ID_LEN 8    /* 8-byte truncated peer ID */
#define bitchat_MAX_TTL 7        /* Max hop count */
#define bitchat_NICKNAME_LEN 32
#define bitchat_SIGNATURE_LEN 64 /* Ed25519 signature */

/* Packet padding sizes (bitchat spec) */
#define bitchat_PADDED_SIZE_256   256
#define bitchat_PADDED_SIZE_512   512
#define bitchat_PADDED_SIZE_1024  1024
#define bitchat_PADDED_SIZE_2048  2048

/* Maximum payload before padding (2048 - header - IDs - signature) */
#define bitchat_MAX_PAYLOAD_SIZE  (bitchat_PADDED_SIZE_2048 - 13 - 16 - bitchat_SIGNATURE_LEN)

/* bitchat packet types (official BitChat protocol) */
enum bitchat_packet_type {
	bitchat_PKT_MESSAGE = 0x01,
	bitchat_PKT_DELIVERY_ACK = 0x02,
	bitchat_PKT_READ_RECEIPT = 0x03,
	/* Official BitChat uses single type 0x10 for all Noise handshake messages */
	bitchat_PKT_NOISE_HANDSHAKE = 0x10,  /* All handshake phases (INIT/RESP/FINISH) */
	/* Legacy aliases for backward compatibility - all map to 0x10 */
	bitchat_PKT_NOISE_HANDSHAKE_INIT = 0x10,
	bitchat_PKT_NOISE_HANDSHAKE_RESP = 0x10,
	bitchat_PKT_NOISE_HANDSHAKE_FINISH = 0x10,
	bitchat_PKT_NOISE_ENCRYPTED = 0x11,  /* Encrypted Noise transport messages */
	bitchat_PKT_FRAGMENT = 0x20,         /* Fragmented messages */
};

/* bitchat packet flags */
#define bitchat_FLAG_HAS_RECIPIENT  0x01
#define bitchat_FLAG_HAS_SIGNATURE  0x02
#define bitchat_FLAG_IS_COMPRESSED  0x04
#define bitchat_FLAG_IS_RELAY       0x08
#define bitchat_FLAG_IS_PRIVATE     0x10

/* Broadcast recipient ID (all 0xFF) */
#define bitchat_BROADCAST_ID 0xFFFFFFFFFFFFFFFFULL

/* TLV types for message payload encoding */
#define bitchat_TLV_NICKNAME      0x01  /* Nickname string */
#define bitchat_TLV_NOISE_INIT    0x02  /* Noise handshake ephemeral key (32 bytes) */
#define bitchat_TLV_NOISE_RESP    0x03  /* Noise handshake response (32-80 bytes: ephemeral or full) */
#define bitchat_TLV_NOISE_FINISH  0x04  /* Noise handshake finish (48 bytes: encrypted static + tag) */
#define bitchat_TLV_TEXT          0x05  /* Plain text message */
#define bitchat_TLV_ENCRYPTED     0x06  /* Encrypted content */
#define bitchat_TLV_CHANNEL       0x07  /* Channel name string */
#define bitchat_TLV_GEOHASH       0x08  /* Geohash identity string (for Nostr peer discovery) */
#define bitchat_TLV_PUBKEY        0x09  /* Nostr public key (32 bytes, for identity broadcasts) */

/* bitchat packet header (14 bytes fixed - official format) */
struct bitchat_header {
	uint8_t version;              /* Protocol version (1) */
	uint8_t type;                 /* Packet type */
	uint8_t ttl;                  /* Time-to-live (0-7) */
	uint64_t timestamp;           /* Unix timestamp (ms) - BIG ENDIAN */
	uint8_t flags;                /* Bitmask flags */
	uint16_t payload_len;         /* Payload length - BIG ENDIAN */
} __packed;

/* Full bitchat packet structure (padded to 256/512/1024/2048) */
struct bitchat_packet {
	struct bitchat_header header; /* 13 bytes */
	uint64_t sender_id;           /* 8 bytes - truncated SHA256(noise_public) */
	uint64_t recipient_id;        /* 8 bytes - optional, broadcast if 0xFF..FF */
	uint8_t payload[bitchat_MAX_PAYLOAD_SIZE];
	/* Note: signature (64 bytes) appended after payload if HAS_SIGNATURE flag set */
	/* Note: packet padded to 256/512/1024/2048 bytes with PKCS#7 style padding */
} __packed;

/* Fragment metadata for reassembly */
struct bitchat_fragment_info {
	uint16_t total_size;          /* Total message size */
	uint8_t fragment_count;       /* Total fragments */
	uint8_t fragment_index;       /* Current fragment (0-based) */
	uint32_t message_id;          /* Unique message ID for reassembly */
} __packed;

/* Noise handshake states */
enum noise_state {
	NOISE_INIT,
	NOISE_SENT_E,
	NOISE_RECEIVED_EES_S_ES,
	NOISE_SENT_S_SE,
	NOISE_TRANSPORT,
};

/* bitchat identity keypairs */
struct bitchat_identity {
	/* Noise static keypair (X25519 - DH key exchange) */
	uint8_t noise_private[NOISE_KEY_SIZE];
	uint8_t noise_public[NOISE_KEY_SIZE];
	
	/* Signing keypair (Ed25519 - authentication) */
	uint8_t sign_private[NOISE_KEY_SIZE];
	uint8_t sign_public[NOISE_KEY_SIZE];
	
	/* User nickname */
	char nickname[bitchat_NICKNAME_LEN];
};

/* Noise session state */
struct noise_session {
	enum noise_state state;
	
	/* Chaining key and handshake hash */
	uint8_t ck[NOISE_HASH_SIZE];
	uint8_t h[NOISE_HASH_SIZE];
	
	/* Local ephemeral keypair */
	uint8_t e_private[NOISE_KEY_SIZE];
	uint8_t e_public[NOISE_KEY_SIZE];
	
	/* Remote keys */
	uint8_t remote_e[NOISE_KEY_SIZE];
	uint8_t remote_s[NOISE_KEY_SIZE];
	
	/* Transport keys (after handshake complete) */
	uint8_t tx_key[NOISE_KEY_SIZE];
	uint8_t rx_key[NOISE_KEY_SIZE];
	uint64_t tx_nonce;
	uint64_t rx_nonce;
	
	/* Session metadata */
	uint16_t session_id;
	uint64_t last_activity;
};

/* Duplicate detection cache entry */
struct message_cache_entry {
	uint32_t hash;
	uint64_t timestamp;
	bool valid;
};

#define MESSAGE_CACHE_SIZE 128

/* Function prototypes */
int bitchat_init_identity(struct bitchat_identity *id, const char *nickname);
int bitchat_create_packet(struct bitchat_packet *pkt, uint8_t type, 
                          uint8_t ttl, const uint8_t *payload, uint16_t len);
bool bitchat_is_duplicate(uint32_t hash);
void bitchat_cache_message(uint32_t hash);

/* Crypto functions */
int bitchat_generate_keypair(uint8_t *private_key, uint8_t *public_key);
int bitchat_ecdh(const uint8_t *our_private, const uint8_t *their_public, 
                 uint8_t *shared_secret);
int bitchat_sha256(const uint8_t *data, size_t len, uint8_t *hash);

/* Noise protocol functions */
int noise_init_session(struct noise_session *session, bool initiator,
                       const struct bitchat_identity *identity);
void noise_mix_hash(uint8_t *h, const uint8_t *data, size_t len);
void noise_mix_key(uint8_t *ck, uint8_t *k, const uint8_t *ikm, size_t len);
int noise_encrypt(const uint8_t *key, uint64_t nonce, const uint8_t *ad, size_t ad_len,
                  const uint8_t *plaintext, size_t plaintext_len,
                  uint8_t *ciphertext, uint8_t *tag);
int noise_decrypt(const uint8_t *key, uint64_t nonce, const uint8_t *ad, size_t ad_len,
                  const uint8_t *ciphertext, size_t ciphertext_len,
                  const uint8_t *tag, uint8_t *plaintext);

/* Noise XX handshake message processing */
int noise_handshake_write_message1(struct noise_session *session, uint8_t *out, size_t *out_len);
int noise_handshake_read_message1(struct noise_session *session, const uint8_t *in, size_t in_len);
int noise_handshake_write_message2(struct noise_session *session, 
                                   const struct bitchat_identity *identity,
                                   uint8_t *out, size_t *out_len);
int noise_handshake_read_message2(struct noise_session *session,
                                  const struct bitchat_identity *identity,
                                  const uint8_t *in, size_t in_len);
int noise_handshake_write_message3(struct noise_session *session,
                                   const struct bitchat_identity *identity,
                                   uint8_t *out, size_t *out_len);
int noise_handshake_read_message3(struct noise_session *session,
                                  const uint8_t *in, size_t in_len);

/* Ephemeral-only handshake (32-byte RESP compatibility for BitChat Android) */
int noise_complete_ephemeral_handshake(struct noise_session *session, const uint8_t *remote_ephemeral);

/* Transport encryption (post-handshake) */
int noise_transport_encrypt(struct noise_session *session, const uint8_t *plaintext,
                            size_t plaintext_len, uint8_t *ciphertext, size_t *ciphertext_len);
int noise_transport_decrypt(struct noise_session *session, const uint8_t *ciphertext,
                            size_t ciphertext_len, uint8_t *plaintext, size_t *plaintext_len);

#endif /* bitchat_PROTOCOL_H */
```
